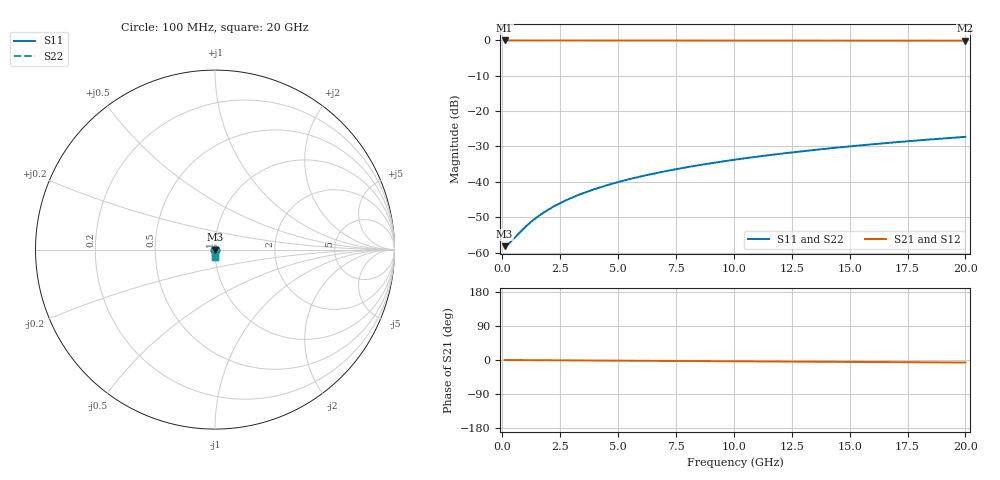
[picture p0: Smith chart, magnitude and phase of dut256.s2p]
! Touchstone file exported from HFSS 2026.1.0
!  File:  C:/ffzhzh/LocalFiles/Ansys_Project_Files/temp_train_TMRDL_256_1782984912_42984.aedt
!  Generated:  05:36:19 PM Jul  2, 2026
!  Design:  TMRDL
!  Project:  temp_train_TMRDL_256_1782984912_42984
! Variables:
!  h_bsmrdl = 2um
!  h_ox = 20um
!  h_rdl = 5um
!  h_sub = 80um
!  h_tmrdl = 3.28um
!  h_tsv = 80um
!  h_via = 3um
!  l_bsmrdl = 300um
!  l_sub = 503.98um
!  l_tmrdl = 103.98um
!  m_sub = 200um
!  pitch = 11.88um
!  r_tsv = 6um
!  s_tmrdl = 10um
!  w_bsmrdl = 18um
!  w_sub = 500um
!  w_tmrdl = 10.81um
!  x_tsv_center1 = 109.385um
!  x_tsv_center2 = 427.385um
!  x_tsv_center3 = 542.175um
!  x_tsv_center4 = 860.175um
!  x_tsv_center5 = 974.965um
!  x_tsv_center6 = 1292.965um
# GHz S MA R 50.000000
! Terminal data exported
! Port[1] = TM_RDL1_1_T1
! Port[2] = TM_RDL1_1_T2
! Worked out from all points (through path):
!   200 points, 100 MHz to 20 GHz, reference 50 ohm
!   highest |S21| = -0.01 dB at 100 MHz (marker M1); lowest = -0.1 dB at 20 GHz (marker M2)
!   lowest |S11| = -58.2 dB at 100 MHz (marker M3), VSWR 1.00, Z = 50.1 - j0.00608 ohm
!   |S11| at or under -10 dB: start of sweep to end of sweep
!   |S22| runs from -58.2 to -27.3 dB; largest |S21 - S12| = 2.1e-14
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0.1  0.001232 -2.8  0.9988 -0.0  0.9988 -0.0  0.001232 -2.8
! Gamma 0 0 0 0
! Port Impedance 50 0 50 0
0.2  0.001281 -5.9  0.9987 -0.1  0.9987 -0.1  0.001281 -5.9
0.3  0.001359 -9.4  0.9987 -0.1  0.9987 -0.1  0.001359 -9.4
0.8  0.001998 -29.0  0.9982 -0.3  0.9982 -0.3  0.001998 -29.0
1.1  0.002478 -38.9  0.9981 -0.4  0.9981 -0.4  0.002478 -38.9
1.4  0.002991 -46.5  0.9979 -0.5  0.9979 -0.5  0.002991 -46.5
1.7  0.003524 -52.3  0.9978 -0.6  0.9978 -0.6  0.003524 -52.3
2.1  0.004257 -58.1  0.9977 -0.8  0.9977 -0.8  0.004257 -58.1
2.5  0.005008 -62.3  0.9976 -0.9  0.9976 -0.9  0.005008 -62.3
3  0.005964 -66.2  0.9975 -1.1  0.9975 -1.1  0.005964 -66.2
3.5  0.006935 -69.0  0.9974 -1.2  0.9974 -1.2  0.006935 -69.0
4.2  0.008317 -71.9  0.9972 -1.5  0.9972 -1.5  0.008317 -71.9
5  0.009923 -74.3  0.997 -1.7  0.997 -1.7  0.009923 -74.3
5.9  0.01176 -76.2  0.9967 -2.0  0.9967 -2.0  0.01176 -76.2
6.8  0.01363 -77.7  0.9965 -2.4  0.9965 -2.4  0.01363 -77.7
8.3  0.0168 -79.5  0.996 -2.9  0.996 -2.9  0.0168 -79.5
10.1  0.02071 -81.2  0.9954 -3.5  0.9954 -3.5  0.02071 -81.2
11.7  0.02426 -82.4  0.9948 -4.0  0.9948 -4.0  0.02426 -82.4
13.4  0.02809 -83.5  0.9942 -4.5  0.9942 -4.5  0.02809 -83.5
15  0.03174 -84.5  0.9937 -5.1  0.9937 -5.1  0.03174 -84.5
16.7  0.03565 -85.5  0.9931 -5.6  0.9931 -5.6  0.03565 -85.5
20  0.04331 -87.3  0.992 -6.7  0.992 -6.7  0.04331 -87.3
